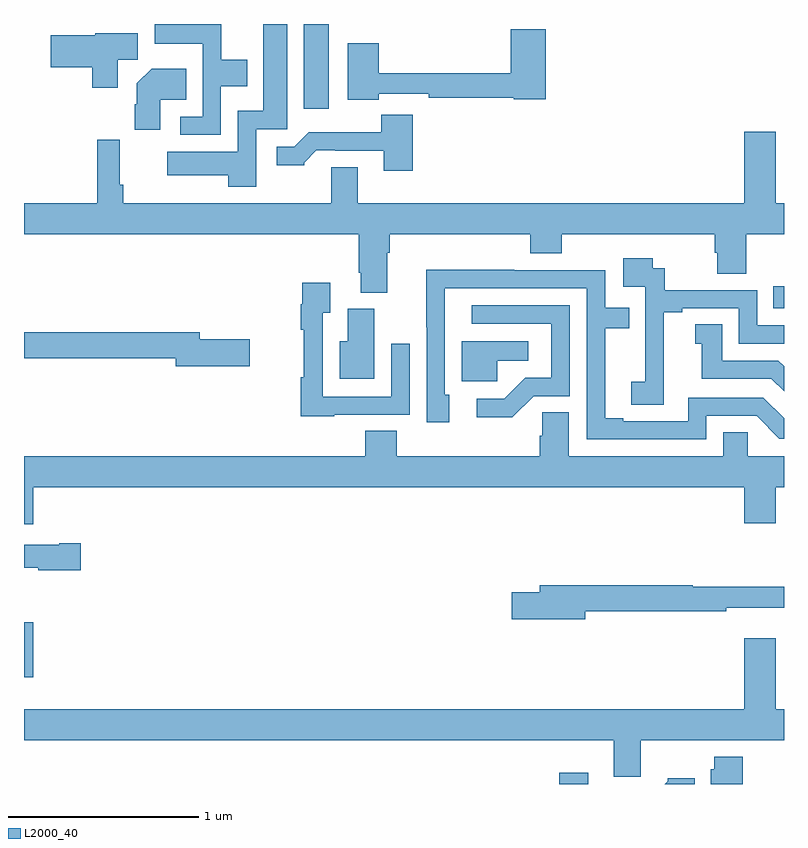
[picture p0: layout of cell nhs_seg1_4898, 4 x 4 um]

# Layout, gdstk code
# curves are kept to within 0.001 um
import gdstk
lib = gdstk.Library(unit=1e-6, precision=1e-09)
def R(c, l, rs):  # rectangles x0, y0, x1, y1
    for r in rs: c.add(gdstk.rectangle(r[:2], r[2:], *l))
def P(c, l, *ps):  # polygons
    for p in ps: c.add(gdstk.Polygon(p, *l))
L2000_40 = (2000, 40)

nhs_seg1_4898 = lib.new_cell('nhs_seg1_4898')
R(nhs_seg1_4898, L2000_40, [(379.817,522.199,379.969,522.259), (377,522.762,377.048,523.051), (380.944,524.703,381,524.818), (378.473,525.753,378.604,526.199)])
P(nhs_seg1_4898, L2000_40, [(378.222,525.645),(378.385,525.645),(378.385,526.199),(378.26,526.199),(378.26,525.742),(378.126,525.742),(378.126,525.526),(377.754,525.526),(377.754,525.404),(378.074,525.404),(378.074,525.342),(378.222,525.342)],
  [(378.036,525.872),(378.175,525.872),(378.175,526.012),(378.039,526.012),(378.039,526.198),(377.803,526.198),(377.803,526.199),(377.687,526.199),(377.687,526.094),(377.94,526.094),(377.94,525.711),(377.823,525.711),(377.823,525.615),(378.036,525.615)],
  [(378.868,525.831),(379.129,525.831),(379.129,525.811),(379.578,525.811),(379.578,525.803),(379.745,525.803),(379.745,526.171),(379.562,526.171),(379.562,525.94),(378.868,525.94),(378.868,526.099),(378.704,526.099),(378.704,525.8),(378.868,525.8)],
  [(377.494,526.012),(377.599,526.012),(377.599,526.15),(377.376,526.15),(377.376,526.141),(377.142,526.141),(377.142,525.971),(377.36,525.971),(377.36,525.864),(377.494,525.864)],
  [(377.716,525.8),(377.855,525.8),(377.855,525.964),(377.672,525.964),(377.594,525.886),(377.594,525.776),(377.582,525.776),(377.582,525.642),(377.716,525.642)],
  [(379.046,525.721),(378.881,525.721),(378.881,525.628),(378.499,525.628),(378.423,525.552),(378.33,525.552),(378.33,525.455),(378.474,525.455),(378.474,525.47),(378.538,525.534),(378.637,525.534),(378.637,525.531),(378.893,525.531),(378.893,525.426),(379.046,525.426)],
  [(378.617,525.446),(378.617,525.256),(377.522,525.256),(377.522,525.352),(377.505,525.352),(377.505,525.589),(377.386,525.589),(377.386,525.256),(377,525.256),(377,525.092),(378.761,525.092),(378.761,524.89),(378.773,524.89),(378.773,524.785),(378.913,524.785),(378.913,524.996),(378.926,524.996),(378.926,525.092),(379.664,525.092),(379.664,524.993),(379.829,524.993),(379.829,525.092),(380.636,525.092),(380.636,524.994),(380.648,524.994),(380.648,524.884),(380.801,524.884),(380.801,525.092),(381,525.092),(381,525.256),(380.956,525.256),(380.956,525.631),(380.792,525.631),(380.792,525.256),(378.757,525.256),(378.757,525.446)],
  [(380.366,524.305),(380.368,524.305),(380.368,524.683),(380.464,524.683),(380.464,524.703),(380.763,524.703),(380.763,524.517),(381,524.517),(381,524.613),(380.859,524.613),(380.859,524.799),(380.372,524.799),(380.372,524.913),(380.31,524.913),(380.31,524.965),(380.154,524.965),(380.154,524.817),(380.271,524.817),(380.271,524.513),(380.27,524.513),(380.27,524.316),(380.196,524.316),(380.196,524.194),(380.366,524.194)],
  [(380.592,524.136),(380.856,524.136),(380.976,524.016),(381,524.016),(381,524.124),(380.892,524.232),(380.496,524.232),(380.496,524.109),(380.155,524.109),(380.155,524.124),(380.059,524.124),(380.059,524.598),(380.186,524.598),(380.186,524.706),(380.058,524.706),(380.058,524.904),(379.58,524.904),(379.58,524.906),(379.118,524.906),(379.119,524.103),(379.237,524.103),(379.237,524.247),(379.215,524.247),(379.215,524.808),(379.962,524.808),(379.962,524.013),(380.592,524.013)],
  [(378.633,524.142),(379.029,524.142),(379.029,524.515),(378.933,524.515),(378.933,524.238),(378.573,524.238),(378.573,524.68),(378.613,524.68),(378.613,524.836),(378.465,524.836),(378.465,524.723),(378.457,524.723),(378.457,524.591),(378.472,524.591),(378.472,524.339),(378.457,524.339),(378.457,524.135),(378.633,524.135)],
  [(379.683,524.241),(379.872,524.241),(379.872,524.718),(379.356,524.718),(379.356,524.622),(379.776,524.622),(379.776,524.337),(379.638,524.337),(379.527,524.226),(379.383,524.226),(379.383,524.129),(379.57,524.129)],
  [(378.844,524.7),(378.704,524.7),(378.704,524.53),(378.662,524.53),(378.662,524.333),(378.844,524.333)],
  [(381,524.397),(380.97,524.427),(380.674,524.427),(380.674,524.618),(380.534,524.618),(380.534,524.515),(380.567,524.515),(380.567,524.331),(380.934,524.331),(381,524.265)],
  [(378.187,524.54),(377.926,524.54),(377.926,524.576),(377,524.576),(377,524.44),(377.798,524.44),(377.798,524.398),(378.187,524.398)],
  [(379.491,524.426),(379.654,524.426),(379.654,524.53),(379.304,524.53),(379.304,524.319),(379.491,524.319)],
  [(377.048,523.76),(380.792,523.76),(380.792,523.572),(380.956,523.572),(380.956,523.76),(381,523.76),(381,523.924),(380.808,523.924),(380.808,524.051),(380.681,524.051),(380.681,523.924),(379.867,523.924),(379.867,524.156),(379.728,524.156),(379.728,524.033),(379.715,524.033),(379.715,523.924),(378.962,523.924),(378.962,524.057),(378.797,524.057),(378.797,523.924),(377,523.924),(377,523.566),(377.048,523.566)],
  [(377.299,523.467),(377.186,523.467),(377.186,523.459),(377,523.459),(377,523.337),(377.076,523.337),(377.076,523.325),(377.299,523.325)],
  [(379.954,523.108),(380.696,523.108),(380.696,523.127),(381,523.127),(381,523.237),(380.519,523.237),(380.519,523.244),(379.715,523.244),(379.715,523.208),(379.566,523.208),(379.566,523.066),(379.954,523.066)],
  [(380.245,522.428),(381,522.428),(381,522.592),(380.956,522.592),(380.956,522.967),(380.792,522.967),(380.792,522.592),(377,522.592),(377,522.428),(380.105,522.428),(380.105,522.238),(380.245,522.238)],
  [(380.784,522.343),(380.632,522.343),(380.632,522.276),(380.615,522.276),(380.615,522.199),(380.784,522.199)],
  [(380.53,522.229),(380.388,522.229),(380.388,522.214),(380.373,522.199),(380.53,522.199)])

lib.write_gds('nhs_seg1_4898.gds')
